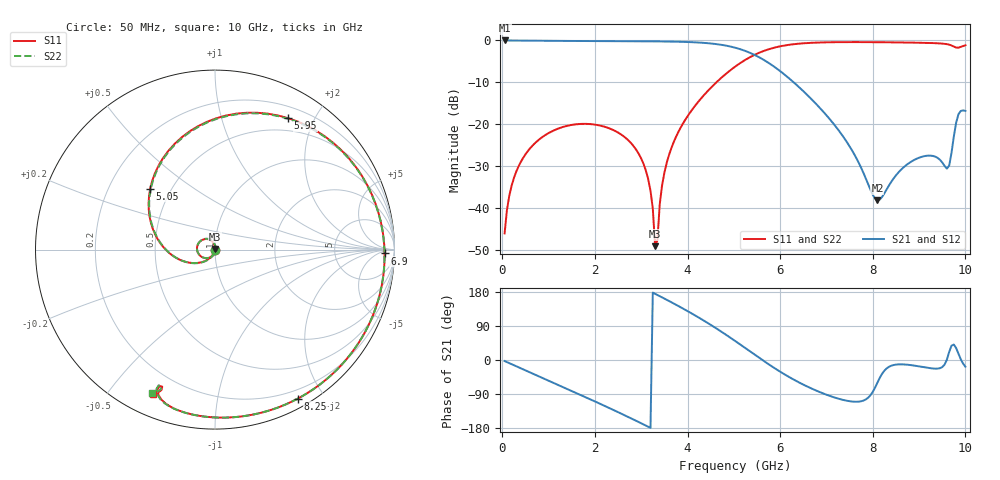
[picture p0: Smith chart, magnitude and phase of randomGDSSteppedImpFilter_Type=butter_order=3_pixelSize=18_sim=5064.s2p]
! freq	dB(S11)	phase(S11)	dB(S12)	phase(S12)
!  dB(S21)	phase(S21)	dB(S22)	phase(S22)
!S-par simulation data
#  GHz  S  DB  R 50
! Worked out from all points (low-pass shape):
!   200 points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, 50 MHz to 10 GHz, reference 50 ohm
!   highest |S21| = -0.02 dB at 50 MHz (marker M1); lowest = -38.2 dB at 8.1 GHz (marker M2)
!   |S21| within 3 dB of the highest: start of sweep to 5.358 GHz
!   lowest |S11| = -49.2 dB at 3.3 GHz (marker M3), VSWR 1.01, Z = 49.9 + j0.323 ohm
!   |S11| at or under -10 dB: start of sweep to 4.626 GHz
!   |S22| runs from -49.2 to -0.4 dB; largest |S21 - S12| = 0
!   S11 on the Smith chart (normalised r, x): 50 MHz: 1.00, -0.01; 5.05 GHz: 0.38, +0.35; 5.95 GHz: 0.34, +1.65; 6.9 GHz: 31, -12; 8.25 GHz: 0.10, -1.70; 10 GHz: 0.10, -0.65
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0.05  -46.11 -72.8  -0.02 -2.8  -0.02 -2.8  -46.11 -72.9
0.2  -34.77 -95.4  -0.03 -10.9  -0.03 -10.9  -34.77 -95.5
0.5  -27.23 -116.0  -0.06 -27.2  -0.06 -27.2  -27.23 -116.2
1.75  -19.94 173.9  -0.16 -95.4  -0.16 -95.4  -19.94 172.9
2.95  -27.17 106.6  -0.21 -164.0  -0.21 -164.0  -27.18 102.4
3.2  -35.88 95.0  -0.23 -179.1  -0.23 -179.1  -35.87 83.8
3.3  -49.16 111.8  -0.24 174.7  -0.24 174.7  -49.18 55.5
3.35  -47.73 -122.8  -0.24 171.6  -0.24 171.6  -47.84 -77.9
3.4  -39.12 -111.2  -0.25 168.5  -0.25 168.5  -39.15 -95.5
3.7  -24.34 -123.7  -0.30 149.2  -0.30 149.2  -24.35 -121.4
4.3  -13.77 -164.1  -0.55 107.8  -0.55 107.8  -13.78 -164.1
5.05  -6.09 136.7  -1.81 48.4  -1.81 48.4  -6.10 136.0
5.95  -1.54 61.0  -6.92 -27.0  -6.92 -27.0  -1.54 60.1
6.7  -0.57 10.0  -14.31 -76.5  -14.31 -76.5  -0.57 9.2
6.9  -0.49 -1.3  -16.65 -86.9  -16.65 -86.9  -0.49 -2.1
8.1  -0.43 -55.3  -38.22 -59.8  -38.22 -59.8  -0.43 -55.9
8.25  -0.45 -60.9  -36.54 -28.2  -36.54 -28.2  -0.45 -61.5
8.35  -0.46 -64.6  -34.66 -17.9  -34.66 -17.9  -0.46 -65.2
9.05  -0.57 -88.7  -27.84 -17.8  -27.84 -17.8  -0.57 -89.2
9.6  -0.90 -107.7  -30.64 0.7  -30.64 0.7  -0.91 -108.2
9.85  -1.74 -111.0  -17.65 16.6  -17.65 16.6  -1.75 -111.5
10  -1.17 -113.4  -16.84 -17.7  -16.84 -17.7  -1.18 -113.7
